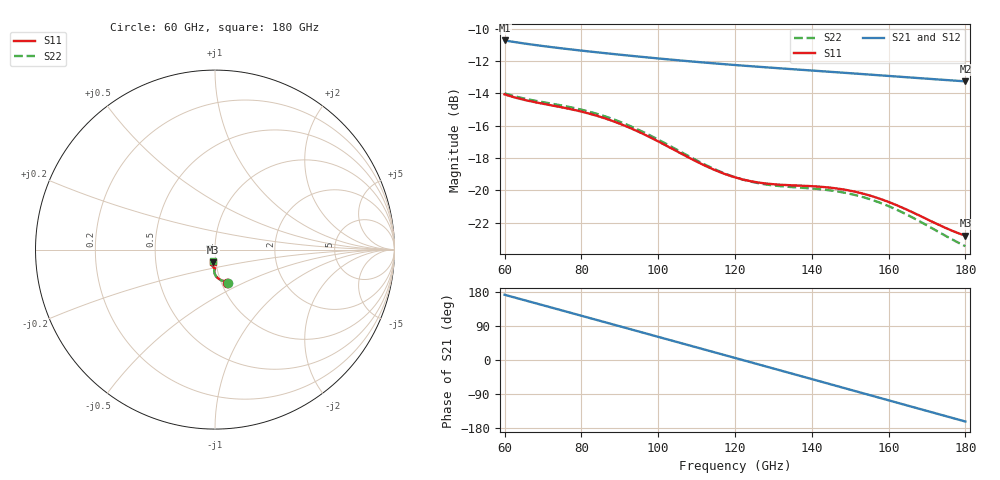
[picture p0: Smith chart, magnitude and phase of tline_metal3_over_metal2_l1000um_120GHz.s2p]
#  GHZ S DB R 50
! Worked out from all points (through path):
!   101 points, 60 GHz to 180 GHz, reference 50 ohm
!   highest |S21| = -10.72 dB at 60 GHz (marker M1); lowest = -13.3 dB at 180 GHz (marker M2)
!   group delay of S21, straight-line fit = 7.75 ps
!   lowest |S11| = -22.8 dB at 180 GHz (marker M3), VSWR 1.16, Z = 48.5 - j7 ohm
!   |S11| at or under -10 dB: start of sweep to end of sweep
!   |S22| runs from -23.4 to -14.0 dB; largest |S21 - S12| = 4.2e-14
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60  -14.05 -70.6  -10.72 172.1  -10.72 172.1  -13.99 -69.5
64.8  -14.38 -71.4  -10.90 158.9  -10.90 158.9  -14.30 -70.3
69.6  -14.62 -72.7  -11.05 145.6  -11.05 145.6  -14.52 -71.7
75.6  -14.89 -75.3  -11.23 129.0  -11.23 129.0  -14.78 -74.4
80.4  -15.15 -78.0  -11.36 115.7  -11.36 115.7  -15.03 -77.2
85.2  -15.47 -80.9  -11.48 102.3  -11.48 102.3  -15.35 -80.3
90  -15.87 -83.9  -11.60 89.0  -11.60 89.0  -15.75 -83.4
94.8  -16.36 -86.7  -11.71 75.6  -11.71 75.6  -16.24 -86.4
100.8  -17.07 -89.5  -11.85 58.9  -11.85 58.9  -16.96 -89.4
110.4  -18.26 -91.5  -12.06 32.2  -12.06 32.2  -18.19 -91.9
115.2  -18.78 -91.4  -12.15 18.8  -12.15 18.8  -18.74 -91.9
120  -19.19 -90.7  -12.24 5.5  -12.24 5.5  -19.18 -91.4
124.8  -19.46 -90.0  -12.33 -7.9  -12.33 -7.9  -19.49 -90.8
129.6  -19.61 -89.5  -12.41 -21.3  -12.41 -21.3  -19.68 -90.4
134.4  -19.68 -89.7  -12.49 -34.7  -12.49 -34.7  -19.79 -90.6
140.4  -19.74 -90.9  -12.59 -51.5  -12.59 -51.5  -19.89 -91.8
146.4  -19.88 -93.0  -12.69 -68.3  -12.69 -68.3  -20.05 -94.0
151.2  -20.08 -95.1  -12.77 -81.7  -12.77 -81.7  -20.28 -96.2
156  -20.38 -97.2  -12.85 -95.2  -12.85 -95.2  -20.61 -98.5
160.8  -20.79 -99.0  -12.93 -108.6  -12.93 -108.6  -21.05 -100.5
170.4  -21.83 -100.5  -13.09 -135.5  -13.09 -135.5  -22.22 -102.7
180  -22.80 -97.8  -13.25 -162.4  -13.25 -162.4  -23.45 -100.7
